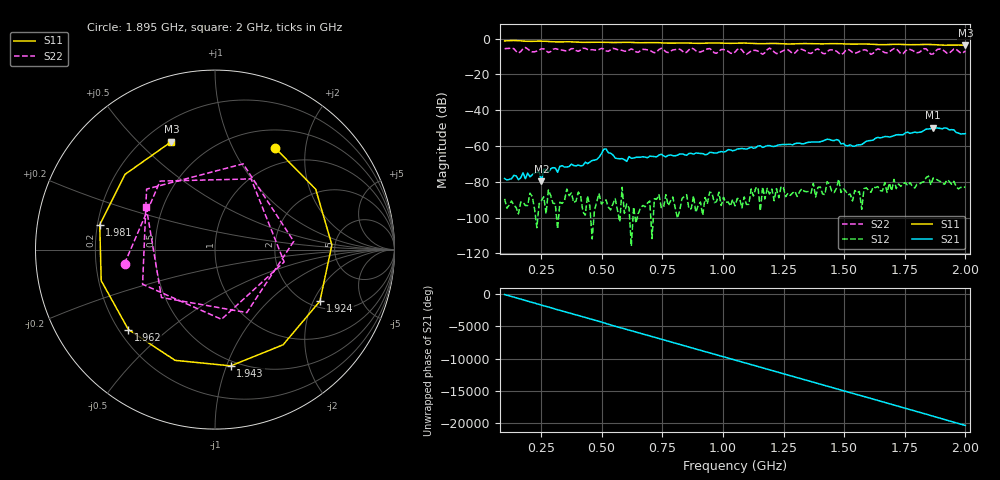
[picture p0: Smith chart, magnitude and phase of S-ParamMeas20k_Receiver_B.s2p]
!Keysight Technologies,N5242B,MY48420967,A.15.65.19
!Date: Saturday, February 04, 2023 00:21:46
!Correction: S11(C  1-Port  )
!S21(Off)
!S12(Off)
!S22(Off)
!S2P File: Measurements: S11, S21, S12, S22:
# Hz S  dB  R 50
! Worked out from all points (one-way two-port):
!   201 points, 100 MHz to 2 GHz, reference 50 ohm
!   highest |S21| = -49.81 dB at 1.867 GHz (marker M1); lowest = -79.8 dB at 252 MHz (marker M2)
!   lowest |S11| = -3.8 dB at 2 GHz (marker M3), VSWR 4.69, Z = 15.2 + j31.6 ohm
!   |S11| at or under -10 dB: nowhere
!   |S22| runs from -9.0 to -5.0 dB; largest |S21 - S12| = 0.0033
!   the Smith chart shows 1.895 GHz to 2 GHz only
!   S11 on the Smith chart (normalised r, x): 1.895 GHz: 0.74, +1.48; 1.924 GHz: 2.26, -2.25; 1.943 GHz: 0.46, -1.04; 1.962 GHz: 0.24, -0.37; 1.981 GHz: 0.21, +0.10; 2 GHz: 0.30, +0.63
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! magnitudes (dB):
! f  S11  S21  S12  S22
! 100 MHz  -1.3  -78.1  -89.5  -5.7
! 242.5 MHz  -1.4  -74.6  -92.1  -6.4
! 252 MHz  -1.5  -79.8  -90.5  -5.7
! 261.5 MHz  -1.5  -72.9  -88.3  -5.8
! 423 MHz  -2.1  -70.9  -96.8  -5.4
! 518 MHz  -2.2  -61.6  -90.1  -6.9
! 603.5 MHz  -2.1  -68.6  -92.3  -7.1
! 613 MHz  -2.1  -65.9  -94.5  -6.4
! 736.5 MHz  -2.3  -65.1  -87.1  -6.1
! 1.05 GHz  -2.6  -62.4  -93.4  -7.5
! 1.373 GHz  -2.9  -57.7  -80.9  -7.5
! 1.468 GHz  -2.8  -56.4  -83.8  -7.0
! 1.544 GHz  -3.1  -60.1  -84.8  -8.2
! 1.687 GHz  -3.3  -55.0  -80.7  -7.4
! 1.829 GHz  -3.3  -51.4  -80.0  -5.7
! 1.867 GHz  -3.4  -49.8  -77.9  -8.6
! 1.895 GHz  -3.6  -50.2  -79.7  -5.8
! 1.924 GHz  -3.7  -50.1  -78.8  -8.2
! 1.943 GHz  -3.7  -50.8  -81.4  -7.0
! 1.962 GHz  -3.7  -52.5  -82.7  -6.0
! 1.981 GHz  -3.6  -53.3  -83.1  -8.1
! 2 GHz  -3.8  -53.1  -82.7  -6.9
